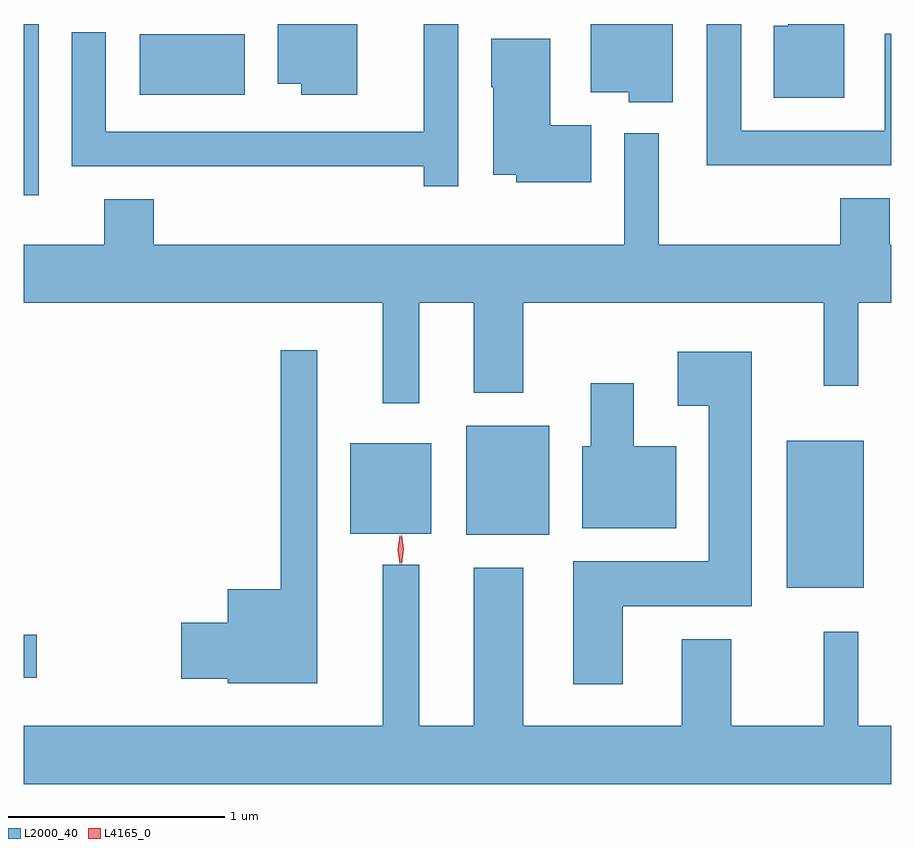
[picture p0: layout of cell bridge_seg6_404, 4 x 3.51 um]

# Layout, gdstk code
import gdstk
lib = gdstk.Library(unit=1e-6, precision=1e-09)
def R(c, l, rs):  # rectangles x0, y0, x1, y1
    for r in rs: c.add(gdstk.rectangle(r[:2], r[2:], *l))
def P(c, l, *ps):  # polygons
    for p in ps: c.add(gdstk.Polygon(p, *l))
L2000_40 = (2000, 40)
L4165_0 = (4165, 0)

bridge_seg6_404 = lib.new_cell('bridge_seg6_404')
R(bridge_seg6_404, L2000_40, [(907.366,1608.246,907.424,1608.444), (910.886,1608.661,911.239,1609.339), (909.406,1608.906,909.789,1609.409), (908.871,1608.911,909.244,1609.329), (907.366,1610.471,907.434,1611.262), (907.901,1610.936,908.384,1611.214)])
P(bridge_seg6_404, L2000_40, [(911.366,1611.218),(911.336,1611.218),(911.336,1610.769),(910.674,1610.769),(910.674,1611.262),(910.516,1611.262),(910.516,1610.611),(911.366,1610.611)],
  [(908.904,1611.262),(908.536,1611.262),(908.536,1610.986),(908.646,1610.986),(908.646,1610.936),(908.904,1610.936)],
  [(909.369,1611.262),(909.211,1611.262),(909.211,1610.764),(907.744,1610.764),(907.744,1611.223),(907.586,1611.223),(907.586,1610.606),(909.211,1610.606),(909.211,1610.513),(909.369,1610.513)],
  [(910.359,1611.262),(909.981,1611.262),(909.981,1610.946),(910.156,1610.946),(910.156,1610.901),(910.359,1610.901)],
  [(911.149,1611.262),(910.891,1611.262),(910.891,1611.254),(910.826,1611.254),(910.826,1610.921),(911.149,1610.921)],
  [(909.984,1610.794),(909.794,1610.794),(909.794,1611.194),(909.521,1611.194),(909.521,1610.97),(909.531,1610.97),(909.531,1610.566),(909.636,1610.566),(909.636,1610.531),(909.984,1610.531)],
  [(909.189,1609.976),(909.441,1609.976),(909.441,1609.561),(909.669,1609.561),(909.669,1609.976),(911.056,1609.976),(911.056,1609.593),(911.214,1609.593),(911.214,1609.976),(911.366,1609.976),(911.366,1610.244),(911.359,1610.244),(911.359,1610.459),(911.131,1610.459),(911.131,1610.244),(910.294,1610.244),(910.294,1610.758),(910.136,1610.758),(910.136,1610.244),(907.964,1610.244),(907.964,1610.454),(907.736,1610.454),(907.736,1610.244),(907.366,1610.244),(907.366,1609.976),(909.021,1609.976),(909.021,1609.513),(909.189,1609.513)],
  [(908.719,1609.758),(908.551,1609.758),(908.551,1608.654),(908.306,1608.654),(908.306,1608.499),(908.091,1608.499),(908.091,1608.241),(908.306,1608.241),(908.306,1608.221),(908.719,1608.221)],
  [(910.129,1608.576),(910.724,1608.576),(910.724,1609.749),(910.381,1609.749),(910.381,1609.501),(910.526,1609.501),(910.526,1608.784),(909.901,1608.784),(909.901,1608.216),(910.129,1608.216)],
  [(910.374,1609.314),(910.179,1609.314),(910.179,1609.604),(909.981,1609.604),(909.981,1609.314),(909.941,1609.314),(909.941,1608.936),(910.374,1608.936)],
  [(911.366,1608.024),(911.214,1608.024),(911.214,1608.458),(911.056,1608.458),(911.056,1608.024),(910.629,1608.024),(910.629,1608.424),(910.401,1608.424),(910.401,1608.024),(909.669,1608.024),(909.669,1608.754),(909.441,1608.754),(909.441,1608.024),(909.189,1608.024),(909.189,1608.768),(909.021,1608.768),(909.021,1608.024),(907.366,1608.024),(907.366,1607.756),(911.366,1607.756)])
P(bridge_seg6_404, L4165_0, [(909.108,1608.77),(909.108,1608.77),(909.098,1608.838),(909.108,1608.906),(909.108,1608.906),(909.109,1608.906),(909.118,1608.838),(909.109,1608.77)],
  [(909.1,1608.773),(909.091,1608.837),(909.1,1608.901),(909.1,1608.902),(909.101,1608.901),(909.11,1608.837),(909.101,1608.773),(909.101,1608.773)])

lib.write_gds('bridge_seg6_404.gds')
